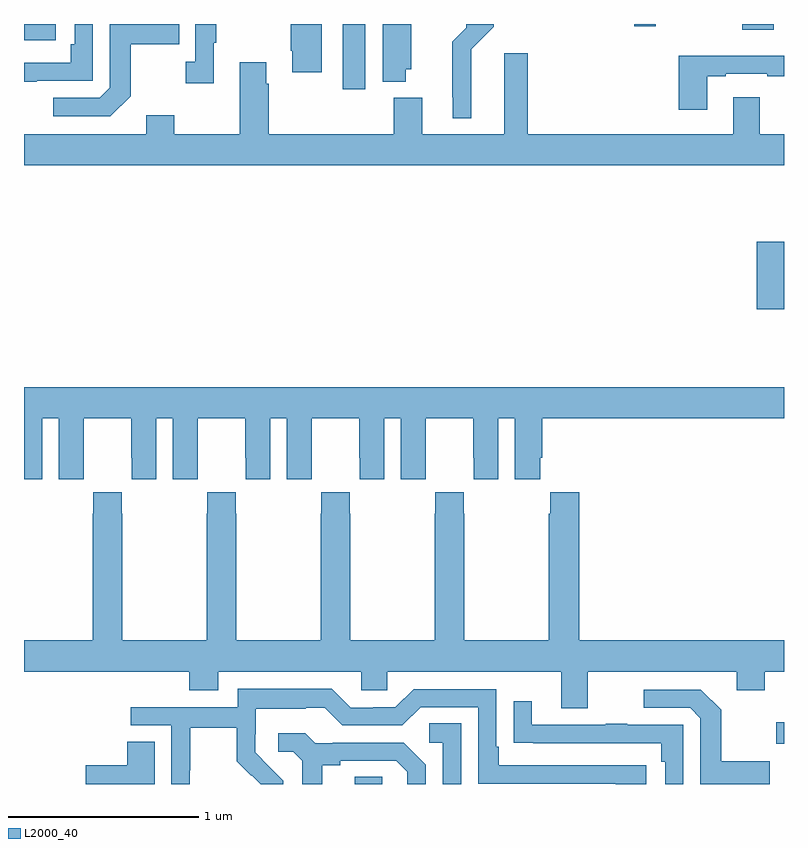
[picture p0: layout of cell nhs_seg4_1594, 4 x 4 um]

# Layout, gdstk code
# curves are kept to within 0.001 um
import gdstk
lib = gdstk.Library(unit=1e-6, precision=1e-09)
def R(c, l, rs):  # rectangles x0, y0, x1, y1
    for r in rs: c.add(gdstk.rectangle(r[:2], r[2:], *l))
def P(c, l, *ps):  # polygons
    for p in ps: c.add(gdstk.Polygon(p, *l))
L2000_40 = (2000, 40)

nhs_seg4_1594 = lib.new_cell('nhs_seg4_1594')
R(nhs_seg4_1594, L2000_40, [(194.741,790.9,194.886,790.937), (196.959,791.111,197,791.224), (196.856,793.4,197,793.753), (194.678,794.556,194.797,794.9), (193,794.814,193.168,794.9), (196.781,794.87,196.945,794.9), (196.212,794.888,196.324,794.9)])
P(nhs_seg4_1594, L2000_40, [(193.999,794.801),(194.011,794.801),(194.011,794.9),(193.902,794.9),(193.902,794.702),(193.851,794.702),(193.851,794.589),(193.999,794.589)],
  [(193.561,794.521),(193.561,794.794),(193.817,794.794),(193.817,794.9),(193.452,794.9),(193.452,794.565),(193.398,794.511),(193.155,794.511),(193.155,794.415),(193.455,794.415)],
  [(193.067,794.601),(193.362,794.601),(193.362,794.9),(193.266,794.9),(193.266,794.794),(193.246,794.794),(193.246,794.697),(193,794.697),(193,794.596),(193.067,794.596)],
  [(194.566,794.9),(194.404,794.9),(194.404,794.758),(194.411,794.758),(194.411,794.646),(194.566,794.646)],
  [(195.355,794.768),(195.473,794.886),(195.473,794.9),(195.327,794.9),(195.327,794.88),(195.253,794.806),(195.253,794.515),(195.257,794.515),(195.257,794.405),(195.355,794.405)],
  [(195.01,794.661),(195.037,794.661),(195.037,794.9),(194.888,794.9),(194.888,794.597),(195.01,794.597)],
  [(197,794.32),(196.873,794.32),(196.873,794.515),(196.733,794.515),(196.733,794.32),(195.65,794.32),(195.65,794.746),(195.527,794.746),(195.527,794.32),(195.097,794.32),(195.097,794.512),(194.945,794.512),(194.945,794.32),(194.288,794.32),(194.288,794.585),(194.275,794.585),(194.275,794.698),(194.135,794.698),(194.135,794.32),(193.791,794.32),(193.791,794.419),(193.643,794.419),(193.643,794.32),(193,794.32),(193,794.156),(197,794.156)],
  [(196.597,794.625),(196.693,794.625),(196.693,794.637),(196.913,794.637),(196.913,794.625),(197,794.625),(197,794.734),(196.445,794.734),(196.445,794.448),(196.597,794.448)],
  [(193.096,792.824),(193.184,792.824),(193.184,792.504),(193.314,792.504),(193.314,792.616),(193.315,792.616),(193.315,792.824),(193.565,792.824),(193.565,792.616),(193.566,792.616),(193.566,792.504),(193.696,792.504),(193.696,792.824),(193.784,792.824),(193.784,792.504),(193.914,792.504),(193.914,792.616),(193.915,792.616),(193.915,792.824),(194.165,792.824),(194.165,792.616),(194.166,792.616),(194.166,792.504),(194.296,792.504),(194.296,792.824),(194.384,792.824),(194.384,792.504),(194.514,792.504),(194.514,792.616),(194.515,792.616),(194.515,792.824),(194.765,792.824),(194.765,792.616),(194.766,792.616),(194.766,792.504),(194.896,792.504),(194.896,792.824),(194.984,792.824),(194.984,792.504),(195.114,792.504),(195.114,792.616),(195.115,792.616),(195.115,792.824),(195.365,792.824),(195.365,792.616),(195.366,792.616),(195.366,792.504),(195.496,792.504),(195.496,792.824),(195.584,792.824),(195.584,792.504),(195.718,792.504),(195.718,792.616),(195.728,792.616),(195.728,792.824),(197,792.824),(197,792.988),(193,792.988),(193,792.504),(193.096,792.504)],
  [(195.967,791.492),(196.751,791.492),(196.751,791.393),(196.899,791.393),(196.899,791.492),(197,791.492),(197,791.656),(195.923,791.656),(195.923,792.436),(195.769,792.436),(195.769,792.323),(195.763,792.323),(195.763,791.656),(195.318,791.656),(195.318,792.323),(195.315,792.323),(195.315,792.436),(195.165,792.436),(195.165,792.323),(195.163,792.323),(195.163,791.656),(194.718,791.656),(194.718,792.323),(194.715,792.323),(194.715,792.436),(194.565,792.436),(194.565,792.323),(194.563,792.323),(194.563,791.656),(194.118,791.656),(194.118,792.323),(194.115,792.323),(194.115,792.436),(193.965,792.436),(193.965,792.323),(193.963,792.323),(193.963,791.656),(193.518,791.656),(193.518,792.323),(193.515,792.323),(193.515,792.436),(193.365,792.436),(193.365,792.323),(193.363,792.323),(193.363,791.656),(193,791.656),(193,791.492),(193.871,791.492),(193.871,791.393),(194.023,791.393),(194.023,791.492),(194.775,791.492),(194.775,791.394),(194.913,791.394),(194.913,791.492),(195.827,791.492),(195.827,791.298),(195.967,791.298)],
  [(193.872,790.972),(193.875,790.972),(193.875,791.196),(194.119,791.196),(194.119,791.021),(194.196,790.944),(194.199,790.947),(194.247,790.9),(194.364,790.9),(194.364,790.918),(194.218,791.066),(194.218,791.163),(194.22,791.163),(194.22,791.297),(194.483,791.297),(194.483,791.301),(194.583,791.301),(194.676,791.208),(194.991,791.208),(195.087,791.304),(195.39,791.304),(195.39,790.902),(196.115,790.902),(196.115,790.9),(196.276,790.9),(196.276,790.998),(195.499,790.998),(195.499,791.095),(195.486,791.095),(195.486,791.4),(195.051,791.4),(194.955,791.304),(194.837,791.304),(194.837,791.301),(194.721,791.301),(194.621,791.401),(194.124,791.401),(194.124,791.304),(193.563,791.304),(193.563,791.208),(193.776,791.208),(193.776,790.9),(193.872,790.9)],
  [(196.925,791.019),(196.669,791.019),(196.669,791.291),(196.563,791.397),(196.263,791.397),(196.263,791.301),(196.506,791.301),(196.56,791.247),(196.56,790.9),(196.925,790.9)],
  [(196.47,791.211),(196.175,791.211),(196.175,791.216),(196.063,791.216),(196.063,791.211),(195.673,791.211),(195.673,791.335),(195.577,791.335),(195.577,791.116),(195.679,791.116),(195.679,791.115),(196.354,791.115),(196.354,791.018),(196.374,791.018),(196.374,790.9),(196.47,790.9)],
  [(195.3,791.219),(195.132,791.219),(195.132,791.118),(195.204,791.118),(195.204,790.9),(195.3,790.9)],
  [(194.569,791),(194.665,791),(194.665,791.022),(194.96,791.022),(195.017,790.965),(195.017,790.9),(195.114,790.9),(195.114,791.002),(194.998,791.118),(194.626,791.118),(194.626,791.115),(194.532,791.115),(194.48,791.167),(194.337,791.167),(194.337,791.07),(194.418,791.07),(194.465,791.023),(194.465,790.9),(194.569,790.9)],
  [(193.687,791.123),(193.544,791.123),(193.544,791),(193.326,791),(193.326,790.9),(193.687,790.9)])

lib.write_gds('nhs_seg4_1594.gds')
